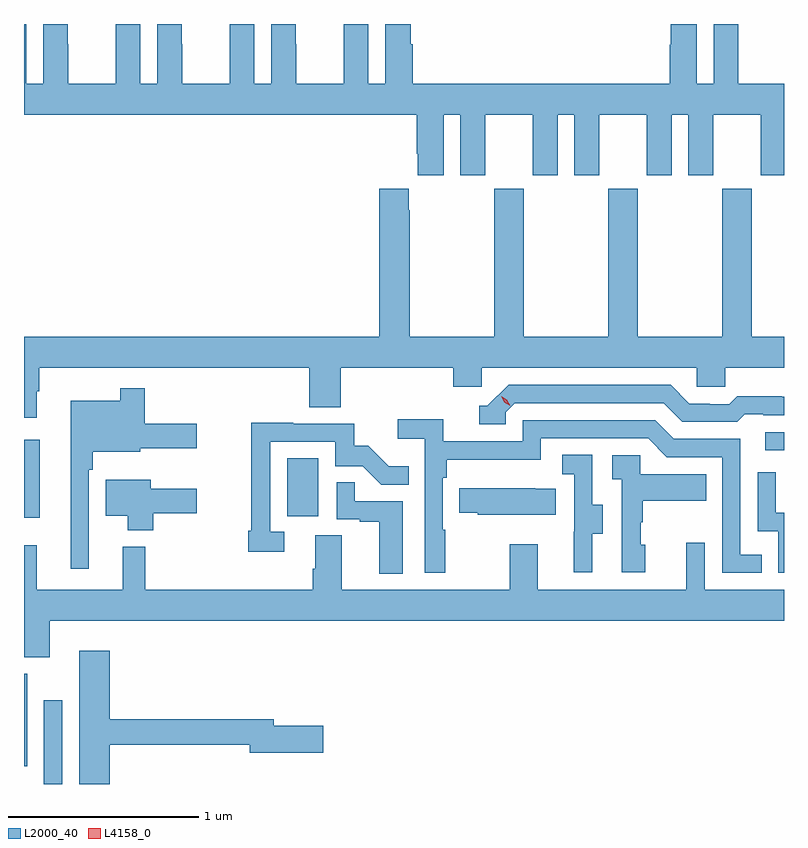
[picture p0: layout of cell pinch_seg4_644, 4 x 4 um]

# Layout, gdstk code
import gdstk
lib = gdstk.Library(unit=1e-6, precision=1e-09)
def R(c, l, rs):  # rectangles x0, y0, x1, y1
    for r in rs: c.add(gdstk.rectangle(r[:2], r[2:], *l))
def P(c, l, *ps):  # polygons
    for p in ps: c.add(gdstk.Polygon(p, *l))
L2000_40 = (2000, 40)
L4158_0 = (4158, 0)

pinch_seg4_644 = lib.new_cell('pinch_seg4_644')
R(pinch_seg4_644, L2000_40, [(1020.96,765.326,1021.056,765.766), (1020.855,765.42,1020.871,765.907), (1020.855,766.727,1020.937,767.137), (1022.24,766.734,1022.404,767.041), (1024.755,767.082,1024.855,767.178)])
P(pinch_seg4_644, L2000_40, [(1024.615,769.326),(1024.484,769.326),(1024.484,769.012),(1024.396,769.012),(1024.396,769.326),(1024.259,769.326),(1024.259,769.217),(1024.253,769.217),(1024.253,769.012),(1022.9,769.012),(1022.9,769.22),(1022.89,769.22),(1022.89,769.326),(1022.756,769.326),(1022.756,769.012),(1022.668,769.012),(1022.668,769.326),(1022.538,769.326),(1022.538,769.22),(1022.537,769.22),(1022.537,769.012),(1022.287,769.012),(1022.287,769.22),(1022.286,769.22),(1022.286,769.326),(1022.156,769.326),(1022.156,769.012),(1022.068,769.012),(1022.068,769.326),(1021.938,769.326),(1021.938,769.22),(1021.937,769.22),(1021.937,769.012),(1021.687,769.012),(1021.687,769.22),(1021.686,769.22),(1021.686,769.326),(1021.556,769.326),(1021.556,769.012),(1021.468,769.012),(1021.468,769.326),(1021.338,769.326),(1021.338,769.22),(1021.337,769.22),(1021.337,769.012),(1021.087,769.012),(1021.087,769.22),(1021.086,769.22),(1021.086,769.326),(1020.956,769.326),(1020.956,769.012),(1020.868,769.012),(1020.868,769.326),(1020.855,769.326),(1020.855,768.848),(1022.921,768.848),(1022.921,768.643),(1022.927,768.643),(1022.927,768.531),(1023.064,768.531),(1023.064,768.848),(1023.152,768.848),(1023.152,768.531),(1023.283,768.531),(1023.283,768.848),(1023.533,768.848),(1023.533,768.531),(1023.664,768.531),(1023.664,768.848),(1023.752,768.848),(1023.752,768.531),(1023.883,768.531),(1023.883,768.848),(1024.133,768.848),(1024.133,768.531),(1024.264,768.531),(1024.264,768.848),(1024.352,768.848),(1024.352,768.531),(1024.483,768.531),(1024.483,768.848),(1024.733,768.848),(1024.733,768.531),(1024.855,768.531),(1024.855,769.012),(1024.615,769.012)],
  [(1020.922,767.393),(1020.934,767.393),(1020.934,767.516),(1022.357,767.516),(1022.357,767.308),(1022.522,767.308),(1022.522,767.516),(1023.113,767.516),(1023.113,767.418),(1023.264,767.418),(1023.264,767.516),(1024.395,767.516),(1024.395,767.418),(1024.545,767.418),(1024.545,767.516),(1024.855,767.516),(1024.855,767.68),(1024.686,767.68),(1024.686,768.46),(1024.531,768.46),(1024.531,767.68),(1024.086,767.68),(1024.086,768.46),(1023.931,768.46),(1023.931,767.68),(1023.486,767.68),(1023.486,768.46),(1023.331,768.46),(1023.331,767.68),(1022.886,767.68),(1022.886,768.347),(1022.881,768.347),(1022.881,768.46),(1022.726,768.46),(1022.726,767.68),(1020.855,767.68),(1020.855,767.253),(1020.922,767.253)],
  [(1023.39,767.283),(1023.438,767.331),(1024.221,767.331),(1024.32,767.232),(1024.609,767.232),(1024.648,767.271),(1024.747,767.271),(1024.747,767.268),(1024.855,767.268),(1024.855,767.365),(1024.842,767.365),(1024.842,767.368),(1024.609,767.368),(1024.567,767.325),(1024.464,767.325),(1024.464,767.328),(1024.357,767.328),(1024.258,767.427),(1023.405,767.427),(1023.294,767.316),(1023.251,767.316),(1023.251,767.22),(1023.39,767.22)],
  [(1021.197,766.979),(1021.217,766.979),(1021.217,767.075),(1021.467,767.075),(1021.467,767.093),(1021.765,767.093),(1021.765,767.223),(1021.49,767.223),(1021.49,767.41),(1021.362,767.41),(1021.362,767.344),(1021.1,767.344),(1021.1,766.458),(1021.197,766.458)],
  [(1023.073,766.664),(1023.06,766.664),(1023.06,766.937),(1023.08,766.937),(1023.08,767.033),(1023.576,767.033),(1023.576,767.145),(1024.14,767.145),(1024.239,767.046),(1024.53,767.046),(1024.53,766.437),(1024.739,766.437),(1024.739,766.533),(1024.626,766.533),(1024.626,767.142),(1024.276,767.142),(1024.177,767.241),(1023.48,767.241),(1023.48,767.13),(1023.062,767.13),(1023.062,767.246),(1022.823,767.246),(1022.823,767.144),(1022.964,767.144),(1022.964,766.437),(1023.073,766.437)],
  [(1022.224,766.653),(1022.151,766.653),(1022.151,767.127),(1022.493,767.127),(1022.493,766.998),(1022.638,766.998),(1022.736,766.9),(1022.879,766.9),(1022.879,766.999),(1022.775,766.999),(1022.668,767.106),(1022.592,767.106),(1022.592,767.223),(1022.273,767.223),(1022.273,767.228),(1022.05,767.228),(1022.05,766.66),(1022.035,766.66),(1022.035,766.548),(1022.224,766.548)],
  [(1023.847,766.642),(1023.901,766.642),(1023.901,766.797),(1023.846,766.797),(1023.846,767.06),(1023.687,767.06),(1023.687,766.957),(1023.75,766.957),(1023.75,766.653),(1023.749,766.653),(1023.749,766.44),(1023.847,766.44)],
  [(1024.126,766.584),(1024.101,766.584),(1024.101,766.703),(1024.111,766.703),(1024.111,766.817),(1024.445,766.817),(1024.445,766.957),(1024.098,766.957),(1024.098,767.055),(1023.951,767.055),(1023.951,766.931),(1024.002,766.931),(1024.002,766.44),(1024.126,766.44)],
  [(1024.855,766.754),(1024.812,766.754),(1024.812,766.966),(1024.716,766.966),(1024.716,766.656),(1024.824,766.656),(1024.824,766.437),(1024.855,766.437)],
  [(1021.535,766.75),(1021.765,766.75),(1021.765,766.879),(1021.522,766.879),(1021.522,766.927),(1021.286,766.927),(1021.286,766.739),(1021.4,766.739),(1021.4,766.661),(1021.535,766.661)],
  [(1022.848,766.815),(1022.597,766.815),(1022.597,766.913),(1022.502,766.913),(1022.502,766.719),(1022.623,766.719),(1022.623,766.707),(1022.726,766.707),(1022.726,766.433),(1022.848,766.433)],
  [(1023.653,766.879),(1023.545,766.879),(1023.545,766.882),(1023.145,766.882),(1023.145,766.753),(1023.243,766.753),(1023.243,766.742),(1023.653,766.742)],
  [(1020.991,766.184),(1024.855,766.184),(1024.855,766.348),(1024.437,766.348),(1024.437,766.597),(1024.34,766.597),(1024.34,766.348),(1023.559,766.348),(1023.559,766.588),(1023.412,766.588),(1023.412,766.348),(1022.527,766.348),(1022.527,766.634),(1022.387,766.634),(1022.387,766.46),(1022.375,766.46),(1022.375,766.348),(1021.493,766.348),(1021.493,766.576),(1021.376,766.576),(1021.376,766.348),(1020.923,766.348),(1020.923,766.582),(1020.855,766.582),(1020.855,765.992),(1020.991,765.992)],
  [(1021.307,765.532),(1022.042,765.532),(1022.042,765.49),(1022.431,765.49),(1022.431,765.632),(1022.17,765.632),(1022.17,765.668),(1021.307,765.668),(1021.307,766.027),(1021.145,766.027),(1021.145,765.326),(1021.307,765.326)])
P(pinch_seg4_644, L4158_0, [(1023.413,767.316),(1023.382,767.336),(1023.366,767.368),(1023.366,767.368),(1023.366,767.368),(1023.397,767.349),(1023.413,767.317),(1023.413,767.316)])

lib.write_gds('pinch_seg4_644.gds')
